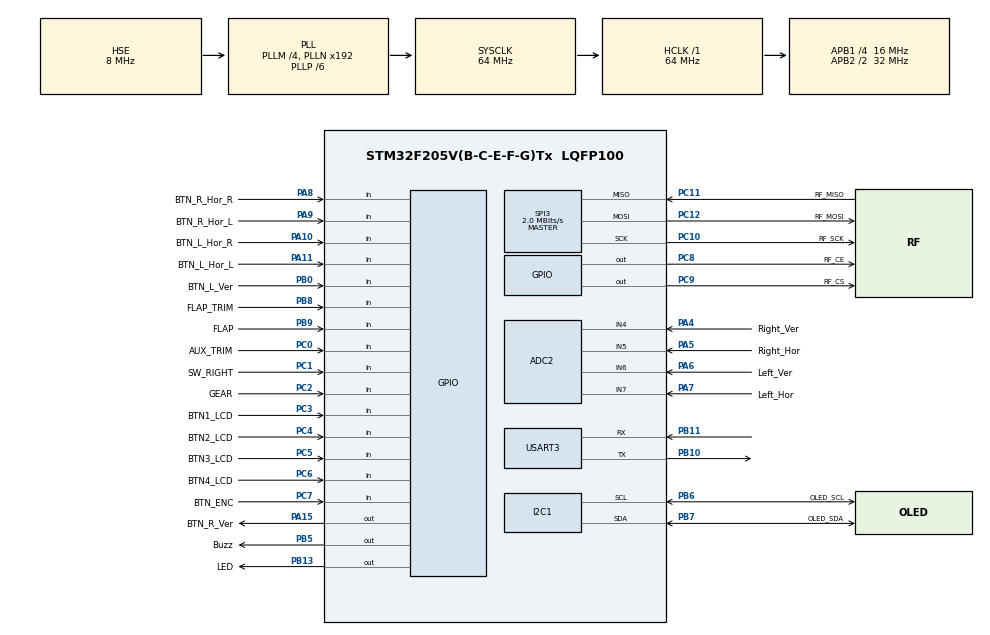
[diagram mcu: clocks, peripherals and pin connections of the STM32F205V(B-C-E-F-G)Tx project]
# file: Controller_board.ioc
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ADC2.Channel-0\#ChannelRegularConversion=ADC_CHANNEL_4
ADC2.Channel-1\#ChannelRegularConversion=ADC_CHANNEL_5
ADC2.Channel-2\#ChannelRegularConversion=ADC_CHANNEL_6
ADC2.Channel-3\#ChannelRegularConversion=ADC_CHANNEL_7
ADC2.ClockPrescaler=ADC_CLOCK_SYNC_PCLK_DIV2
ADC2.ContinuousConvMode=ENABLE
ADC2.DMAContinuousRequests=ENABLE
ADC2.DiscontinuousConvMode=DISABLE
ADC2.NbrOfConversion=4
ADC2.NbrOfConversionFlag=1
ADC2.Rank-0\#ChannelRegularConversion=1
ADC2.Rank-1\#ChannelRegularConversion=2
ADC2.Rank-2\#ChannelRegularConversion=3
ADC2.Rank-3\#ChannelRegularConversion=4
ADC2.SamplingTime-0\#ChannelRegularConversion=ADC_SAMPLETIME_480CYCLES
ADC2.SamplingTime-1\#ChannelRegularConversion=ADC_SAMPLETIME_480CYCLES
ADC2.SamplingTime-2\#ChannelRegularConversion=ADC_SAMPLETIME_480CYCLES
ADC2.SamplingTime-3\#ChannelRegularConversion=ADC_SAMPLETIME_480CYCLES
ADC2.ScanConvMode=ENABLE
Dma.ADC2.2.Direction=DMA_PERIPH_TO_MEMORY
Dma.ADC2.2.FIFOMode=DMA_FIFOMODE_DISABLE
Dma.ADC2.2.Instance=DMA2_Stream3
Dma.ADC2.2.MemDataAlignment=DMA_MDATAALIGN_HALFWORD
Dma.ADC2.2.MemInc=DMA_MINC_ENABLE
Dma.ADC2.2.Mode=DMA_CIRCULAR
Dma.ADC2.2.PeriphDataAlignment=DMA_PDATAALIGN_HALFWORD
Dma.ADC2.2.PeriphInc=DMA_PINC_DISABLE
Dma.ADC2.2.Priority=DMA_PRIORITY_LOW
Dma.Request0=USART3_RX
Dma.Request1=USART3_TX
Dma.Request2=ADC2
Dma.USART3_RX.0.Direction=DMA_PERIPH_TO_MEMORY
Dma.USART3_RX.0.FIFOMode=DMA_FIFOMODE_DISABLE
Dma.USART3_RX.0.Instance=DMA1_Stream1
Dma.USART3_RX.0.MemDataAlignment=DMA_MDATAALIGN_BYTE
Dma.USART3_RX.0.MemInc=DMA_MINC_ENABLE
Dma.USART3_RX.0.Mode=DMA_NORMAL
Dma.USART3_RX.0.PeriphDataAlignment=DMA_PDATAALIGN_BYTE
Dma.USART3_RX.0.PeriphInc=DMA_PINC_DISABLE
Dma.USART3_RX.0.Priority=DMA_PRIORITY_LOW
Dma.USART3_TX.1.Direction=DMA_MEMORY_TO_PERIPH
Dma.USART3_TX.1.FIFOMode=DMA_FIFOMODE_DISABLE
Dma.USART3_TX.1.Instance=DMA1_Stream3
Dma.USART3_TX.1.MemDataAlignment=DMA_MDATAALIGN_BYTE
Dma.USART3_TX.1.MemInc=DMA_MINC_ENABLE
Dma.USART3_TX.1.Mode=DMA_NORMAL
Dma.USART3_TX.1.PeriphDataAlignment=DMA_PDATAALIGN_BYTE
Dma.USART3_TX.1.PeriphInc=DMA_PINC_DISABLE
Dma.USART3_TX.1.Priority=DMA_PRIORITY_LOW
FREERTOS.INCLUDE_vTaskDelayUntil=1
FREERTOS.Tasks01=defaultTask,0,128,StartDefaultTask,Default,NULL,Dynamic,NULL,NULL
I2C1.I2C_Mode=I2C_Fast
Mcu.Family=STM32F2
Mcu.Name=STM32F205V(B-C-E-F-G)Tx
Mcu.Package=LQFP100
NVIC.DMA1_Stream1_IRQn=true\:5\:0\:false\:false\:true\:true\:false\:true
NVIC.DMA1_Stream3_IRQn=true\:5\:0\:false\:false\:true\:true\:false\:true
NVIC.DMA2_Stream3_IRQn=true\:5\:0\:false\:false\:true\:true\:false\:true
NVIC.PriorityGroup=NVIC_PRIORITYGROUP_4
NVIC.TIM5_IRQn=true\:15\:0\:false\:false\:true\:false\:false\:true
NVIC.TimeBase=TIM5_IRQn
NVIC.TimeBaseIP=TIM5
NVIC.USART3_IRQn=true\:5\:0\:false\:false\:true\:true\:true\:true
PA10.GPIO_Label=BTN_L_Hor_R
PA10.Signal=GPIO_Input
PA11.GPIO_Label=BTN_L_Hor_L
PA11.Signal=GPIO_Input
PA13.Mode=Serial_Wire
PA13.Signal=SYS_JTMS-SWDIO
PA14.Mode=Serial_Wire
PA14.Signal=SYS_JTCK-SWCLK
PA15.GPIO_Label=BTN_R_Ver
PA15.Signal=GPIO_Output
PA4.GPIO_Label=Right_Ver
PA4.Signal=SharedAnalog_PA4
PA5.GPIO_Label=Right_Hor
PA5.Signal=ADCx_IN5
PA6.GPIO_Label=Left_Ver
PA6.Signal=ADCx_IN6
PA7.GPIO_Label=Left_Hor
PA7.Signal=ADCx_IN7
PA8.GPIO_Label=BTN_R_Hor_R
PA8.Signal=GPIO_Input
PA9.GPIO_Label=BTN_R_Hor_L
PA9.Signal=GPIO_Input
PB0.GPIO_Label=BTN_L_Ver
PB0.Signal=GPIO_Input
PB10.Mode=Asynchronous
PB10.Signal=USART3_TX
PB11.Mode=Asynchronous
PB11.Signal=USART3_RX
PB13.GPIO_Label=LED
PB13.Signal=GPIO_Output
PB5.GPIO_Label=Buzz
PB5.Signal=GPIO_Output
PB6.GPIO_Label=OLED_SCL
PB6.Mode=I2C
PB6.Signal=I2C1_SCL
PB7.GPIO_Label=OLED_SDA
PB7.Mode=I2C
PB7.Signal=I2C1_SDA
PB8.GPIO_Label=FLAP_TRIM
PB8.Signal=GPIO_Input
PB9.GPIO_Label=FLAP
PB9.Signal=GPIO_Input
PC0.GPIO_Label=AUX_TRIM
PC0.Signal=GPIO_Input
PC1.GPIO_Label=SW_RIGHT
PC1.Signal=GPIO_Input
PC10.GPIO_Label=RF_SCK
PC10.Mode=Full_Duplex_Master
PC10.Signal=SPI3_SCK
PC11.GPIO_Label=RF_MISO
PC11.Mode=Full_Duplex_Master
PC11.Signal=SPI3_MISO
PC12.GPIO_Label=RF_MOSI
PC12.Mode=Full_Duplex_Master
PC12.Signal=SPI3_MOSI
PC2.GPIO_Label=GEAR
PC2.Signal=GPIO_Input
PC3.GPIO_Label=BTN1_LCD
PC3.Signal=GPIO_Input
PC4.GPIO_Label=BTN2_LCD
PC4.Signal=GPIO_Input
PC5.GPIO_Label=BTN3_LCD
PC5.Signal=GPIO_Input
PC6.GPIO_Label=BTN4_LCD
PC6.Signal=GPIO_Input
PC7.GPIO_Label=BTN_ENC
PC7.Signal=GPIO_Input
PC8.GPIO_Label=RF_CE
PC8.Signal=GPIO_Output
PC9.GPIO_Label=RF_CS
PC9.Signal=GPIO_Output
PH0-OSC_IN.Mode=HSE-External-Oscillator
PH0-OSC_IN.Signal=RCC_OSC_IN
PH1-OSC_OUT.Mode=HSE-External-Oscillator
PH1-OSC_OUT.Signal=RCC_OSC_OUT
ProjectManager.HeapSize=0x2000
ProjectManager.StackSize=0x4000
ProjectManager.TargetToolchain=Makefile
RCC.48MHZClocksFreq_Value=96000000
RCC.AHBFreq_Value=64000000
RCC.APB1CLKDivider=RCC_HCLK_DIV4
RCC.APB1Freq_Value=16000000
RCC.APB1TimFreq_Value=32000000
RCC.APB2CLKDivider=RCC_HCLK_DIV2
RCC.APB2Freq_Value=32000000
RCC.APB2TimFreq_Value=64000000
RCC.CortexFreq_Value=64000000
RCC.HCLKFreq_Value=64000000
RCC.HSE_VALUE=8000000
RCC.HSI_VALUE=16000000
RCC.LSE_VALUE=32768
RCC.PLLM=4
RCC.PLLP=RCC_PLLP_DIV6
RCC.PLLSourceVirtual=RCC_PLLSOURCE_HSE
RCC.SYSCLKFreq_VALUE=64000000
RCC.SYSCLKSource=RCC_SYSCLKSOURCE_PLLCLK
RCC.VCOOutputFreq_Value=384000000
SH.ADCx_IN5.0=ADC1_IN5
SH.ADCx_IN5.1=ADC2_IN5,IN5
SH.ADCx_IN6.0=ADC1_IN6
SH.ADCx_IN6.1=ADC2_IN6,IN6
SH.ADCx_IN7.0=ADC1_IN7
SH.ADCx_IN7.1=ADC2_IN7,IN7
SH.SharedAnalog_PA4.0=GPIO_Analog
SH.SharedAnalog_PA4.1=ADC1_IN4
SH.SharedAnalog_PA4.2=ADC2_IN4,IN4
SPI3.BaudRatePrescaler=SPI_BAUDRATEPRESCALER_8
SPI3.CalculateBaudRate=2.0 MBits/s
SPI3.Direction=SPI_DIRECTION_2LINES
SPI3.Mode=SPI_MODE_MASTER
SPI3.VirtualType=VM_MASTER
USART3.VirtualMode=VM_ASYNC
VP_FREERTOS_VS_CMSIS_V1.Mode=CMSIS_V1
VP_SYS_VS_tim5.Mode=TIM5
board=custom

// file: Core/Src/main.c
/* USER CODE BEGIN Header */
/**
 ******************************************************************************
 * @file           : main.c
 * @brief          : Main program body
 ******************************************************************************
 * @attention
 *
 * Copyright (c) 2022 STMicroelectronics.
 * All rights reserved.
 *
 * This software is licensed under terms that can be found in the LICENSE file
 * in the root directory of this software component.
 * If no LICENSE file comes with this software, it is provided AS-IS.
 *
 ******************************************************************************
 */
/* USER CODE END Header */
#include "main.h"

/* USER CODE BEGIN Includes */
#include <stdio.h>
#include <string.h>

#include "Oled.h"
#include "Radio.h"
#include "uartRingBufDMA.h"

// FreeRTOS
#include "FreeRTOS.h"
#include "event_groups.h"
#include "queue.h"
#include "semphr.h"
#include "stdio.h"
#include "task.h"
#include "timers.h"
/* USER CODE END Includes */

ADC_HandleTypeDef hadc2;
DMA_HandleTypeDef hdma_adc2;

I2C_HandleTypeDef hi2c1;

SPI_HandleTypeDef hspi3;

UART_HandleTypeDef huart3;
DMA_HandleTypeDef hdma_usart3_rx;
DMA_HandleTypeDef hdma_usart3_tx;

/* USER CODE BEGIN PV */

RingBuffer_t Ring;
RadioHandler_t Radio;
OLEDHandle_t Oled;

uint16_t ADCValue[4];

// Task Handle
TaskHandle_t RadioTask;
TaskHandle_t DisplayTask;
TaskHandle_t CalculateTask;
TaskHandle_t InitTask;
/* USER CODE END PV */

void SystemClock_Config(void);
static void MX_GPIO_Init(void);
static void MX_I2C1_Init(void);
static void MX_SPI3_Init(void);
static void MX_DMA_Init(void);
static void MX_USART3_UART_Init(void);
static void MX_ADC2_Init(void);

/* USER CODE BEGIN PFP */
void Init_Task(void *pvParameters);
void Display_Task(void *pvParameters);
void Radio_Task(void *pvParameters);
void ReadData_Task(void *pvParameters);

// RTOS
void Radio_Task(void *pvParameters);
void Display_Task(void *pvParameters);
void Calculate_Task(void *pvParameters);
void Init_Task(void *pvParamters);

/* USER CODE END PFP */

int main(void) {

    /* MCU
     * Configuration--------------------------------------------------------*/

    /* Reset of all peripherals, Initializes the Flash interface and the
     * Systick. */
    HAL_Init();

    /* Configure the system clock */
    SystemClock_Config();

    /* Initialize all configured peripherals */
    MX_GPIO_Init();
    MX_I2C1_Init();
    MX_SPI3_Init();
    MX_DMA_Init();
    MX_USART3_UART_Init();
    MX_ADC2_Init();
    /* USER CODE BEGIN 2 */
    HAL_GPIO_WritePin(Buzz_GPIO_Port, Buzz_Pin, 1);
    HAL_Delay(200);
    HAL_GPIO_WritePin(Buzz_GPIO_Port, Buzz_Pin, 0);
    // For RTOS
    xTaskCreate(Init_Task, "Init", 256, NULL, 3, &InitTask);
    vTaskStartScheduler();
    /* USER CODE END 2 */

    /* Infinite loop */
    while (1) {

    }
}

void SystemClock_Config(void) {
    RCC_OscInitTypeDef RCC_OscInitStruct = {0};
    RCC_ClkInitTypeDef RCC_ClkInitStruct = {0};

    /** Initializes the RCC Oscillators according to the specified parameters
     * in the RCC_OscInitTypeDef structure.
     */
    RCC_OscInitStruct.OscillatorType = RCC_OSCILLATORTYPE_HSE;
    RCC_OscInitStruct.HSEState = RCC_HSE_ON;
    RCC_OscInitStruct.PLL.PLLState = RCC_PLL_ON;
    RCC_OscInitStruct.PLL.PLLSource = RCC_PLLSOURCE_HSE;
    RCC_OscInitStruct.PLL.PLLM = 4;
    RCC_OscInitStruct.PLL.PLLN = 192;
    RCC_OscInitStruct.PLL.PLLP = RCC_PLLP_DIV6;
    RCC_OscInitStruct.PLL.PLLQ = 4;
    if (HAL_RCC_OscConfig(&RCC_OscInitStruct) != HAL_OK) {
        Error_Handler();
    }
    /** Initializes the CPU, AHB and APB buses clocks
     */
    RCC_ClkInitStruct.ClockType = RCC_CLOCKTYPE_HCLK | RCC_CLOCKTYPE_SYSCLK |
                                  RCC_CLOCKTYPE_PCLK1 | RCC_CLOCKTYPE_PCLK2;
    RCC_ClkInitStruct.SYSCLKSource = RCC_SYSCLKSOURCE_PLLCLK;
    RCC_ClkInitStruct.AHBCLKDivider = RCC_SYSCLK_DIV1;
    RCC_ClkInitStruct.APB1CLKDivider = RCC_HCLK_DIV4;
    RCC_ClkInitStruct.APB2CLKDivider = RCC_HCLK_DIV2;

    if (HAL_RCC_ClockConfig(&RCC_ClkInitStruct, FLASH_LATENCY_2) != HAL_OK) {
        Error_Handler();
    }
}

static void MX_ADC2_Init(void) {

    ADC_ChannelConfTypeDef sConfig = {0};

    /** Configure the global features of the ADC (Clock, Resolution, Data
     * Alignment and number of conversion)
     */
    hadc2.Instance = ADC2;
    hadc2.Init.ClockPrescaler = ADC_CLOCK_SYNC_PCLK_DIV2;
    hadc2.Init.Resolution = ADC_RESOLUTION_12B;
    hadc2.Init.ScanConvMode = ENABLE;
    hadc2.Init.ContinuousConvMode = ENABLE;
    hadc2.Init.DiscontinuousConvMode = DISABLE;
    hadc2.Init.ExternalTrigConvEdge = ADC_EXTERNALTRIGCONVEDGE_NONE;
    hadc2.Init.ExternalTrigConv = ADC_SOFTWARE_START;
    hadc2.Init.DataAlign = ADC_DATAALIGN_RIGHT;
    hadc2.Init.NbrOfConversion = 4;
    hadc2.Init.DMAContinuousRequests = ENABLE;
    hadc2.Init.EOCSelection = ADC_EOC_SINGLE_CONV;
    if (HAL_ADC_Init(&hadc2) != HAL_OK) {
        Error_Handler();
    }
    /** Configure for the selected ADC regular channel its corresponding rank in
     * the sequencer and its sample time.
     */
    sConfig.Channel = ADC_CHANNEL_4;
    sConfig.Rank = 1;
    sConfig.SamplingTime = ADC_SAMPLETIME_480CYCLES;
    if (HAL_ADC_ConfigChannel(&hadc2, &sConfig) != HAL_OK) {
        Error_Handler();
    }
    /** Configure for the selected ADC regular channel its corresponding rank in
     * the sequencer and its sample time.
     */
    sConfig.Channel = ADC_CHANNEL_5;
    sConfig.Rank = 2;
    if (HAL_ADC_ConfigChannel(&hadc2, &sConfig) != HAL_OK) {
        Error_Handler();
    }
    /** Configure for the selected ADC regular channel its corresponding rank in
     * the sequencer and its sample time.
     */
    sConfig.Channel = ADC_CHANNEL_6;
    sConfig.Rank = 3;
    if (HAL_ADC_ConfigChannel(&hadc2, &sConfig) != HAL_OK) {
        Error_Handler();
    }
    /** Configure for the selected ADC regular channel its corresponding rank in
     * the sequencer and its sample time.
     */
    sConfig.Channel = ADC_CHANNEL_7;
    sConfig.Rank = 4;
    if (HAL_ADC_ConfigChannel(&hadc2, &sConfig) != HAL_OK) {
        Error_Handler();
    }
}

static void MX_I2C1_Init(void) {

    hi2c1.Instance = I2C1;
    hi2c1.Init.ClockSpeed = 400000;
    hi2c1.Init.DutyCycle = I2C_DUTYCYCLE_2;
    hi2c1.Init.OwnAddress1 = 0;
    hi2c1.Init.AddressingMode = I2C_ADDRESSINGMODE_7BIT;
    hi2c1.Init.DualAddressMode = I2C_DUALADDRESS_DISABLE;
    hi2c1.Init.OwnAddress2 = 0;
    hi2c1.Init.GeneralCallMode = I2C_GENERALCALL_DISABLE;
    hi2c1.Init.NoStretchMode = I2C_NOSTRETCH_DISABLE;
    if (HAL_I2C_Init(&hi2c1) != HAL_OK) {
        Error_Handler();
    }
}

static void MX_SPI3_Init(void) {

    /* SPI3 parameter configuration*/
    hspi3.Instance = SPI3;
    hspi3.Init.Mode = SPI_MODE_MASTER;
    hspi3.Init.Direction = SPI_DIRECTION_2LINES;
    hspi3.Init.DataSize = SPI_DATASIZE_8BIT;
    hspi3.Init.CLKPolarity = SPI_POLARITY_LOW;
    hspi3.Init.CLKPhase = SPI_PHASE_1EDGE;
    hspi3.Init.NSS = SPI_NSS_SOFT;
    hspi3.Init.BaudRatePrescaler = SPI_BAUDRATEPRESCALER_8;
    hspi3.Init.FirstBit = SPI_FIRSTBIT_MSB;
    hspi3.Init.TIMode = SPI_TIMODE_DISABLE;
    hspi3.Init.CRCCalculation = SPI_CRCCALCULATION_DISABLE;
    hspi3.Init.CRCPolynomial = 10;
    if (HAL_SPI_Init(&hspi3) != HAL_OK) {
        Error_Handler();
    }
}

static void MX_USART3_UART_Init(void) {

    huart3.Instance = USART3;
    huart3.Init.BaudRate = 115200;
    huart3.Init.WordLength = UART_WORDLENGTH_8B;
    huart3.Init.StopBits = UART_STOPBITS_1;
    huart3.Init.Parity = UART_PARITY_NONE;
    huart3.Init.Mode = UART_MODE_TX_RX;
    huart3.Init.HwFlowCtl = UART_HWCONTROL_NONE;
    huart3.Init.OverSampling = UART_OVERSAMPLING_16;
    if (HAL_UART_Init(&huart3) != HAL_OK) {
        Error_Handler();
    }
}

static void MX_DMA_Init(void) {
    /* DMA controller clock enable */
    __HAL_RCC_DMA1_CLK_ENABLE();
    __HAL_RCC_DMA2_CLK_ENABLE();

    /* DMA interrupt init */
    /* DMA1_Stream1_IRQn interrupt configuration */
    HAL_NVIC_SetPriority(DMA1_Stream1_IRQn, 5, 0);
    HAL_NVIC_EnableIRQ(DMA1_Stream1_IRQn);
    /* DMA1_Stream3_IRQn interrupt configuration */
    HAL_NVIC_SetPriority(DMA1_Stream3_IRQn, 5, 0);
    HAL_NVIC_EnableIRQ(DMA1_Stream3_IRQn);
    /* DMA2_Stream3_IRQn interrupt configuration */
    HAL_NVIC_SetPriority(DMA2_Stream3_IRQn, 5, 0);
    HAL_NVIC_EnableIRQ(DMA2_Stream3_IRQn);
}

static void MX_GPIO_Init(void) {
    GPIO_InitTypeDef GPIO_InitStruct = {0};

    /* GPIO Ports Clock Enable */
    __HAL_RCC_GPIOH_CLK_ENABLE();
    __HAL_RCC_GPIOC_CLK_ENABLE();
    __HAL_RCC_GPIOA_CLK_ENABLE();
    __HAL_RCC_GPIOB_CLK_ENABLE();

    /*Configure GPIO pin Output Level */
    HAL_GPIO_WritePin(GPIOB, LED_Pin | Buzz_Pin, GPIO_PIN_RESET);

    /*Configure GPIO pin Output Level */
    HAL_GPIO_WritePin(GPIOC, RF_CE_Pin | RF_CS_Pin, GPIO_PIN_RESET);

    /*Configure GPIO pin Output Level */
    HAL_GPIO_WritePin(BTN_R_Ver_GPIO_Port, BTN_R_Ver_Pin, GPIO_PIN_RESET);

    /*Configure GPIO pins : AUX_TRIM_Pin SW_RIGHT_Pin GEAR_Pin BTN1_LCD_Pin
                             BTN2_LCD_Pin BTN3_LCD_Pin BTN4_LCD_Pin BTN_ENC_Pin
     */
    GPIO_InitStruct.Pin = AUX_TRIM_Pin | SW_RIGHT_Pin | GEAR_Pin |
                          BTN1_LCD_Pin | BTN2_LCD_Pin | BTN3_LCD_Pin |
                          BTN4_LCD_Pin | BTN_ENC_Pin;
    GPIO_InitStruct.Mode = GPIO_MODE_INPUT;
    GPIO_InitStruct.Pull = GPIO_NOPULL;
    HAL_GPIO_Init(GPIOC, &GPIO_InitStruct);

    /*Configure GPIO pins : Right_Ver_Pin Right_Hor_Pin Left_Ver_Pin
     * Left_Hor_Pin */
    GPIO_InitStruct.Pin =
        Right_Ver_Pin | Right_Hor_Pin | Left_Ver_Pin | Left_Hor_Pin;
    GPIO_InitStruct.Mode = GPIO_MODE_ANALOG;
    GPIO_InitStruct.Pull = GPIO_NOPULL;
    HAL_GPIO_Init(GPIOA, &GPIO_InitStruct);

    /*Configure GPIO pins : BTN_L_Ver_Pin FLAP_TRIM_Pin FLAP_Pin */
    GPIO_InitStruct.Pin = BTN_L_Ver_Pin | FLAP_TRIM_Pin | FLAP_Pin;
    GPIO_InitStruct.Mode = GPIO_MODE_INPUT;
    GPIO_InitStruct.Pull = GPIO_NOPULL;
    HAL_GPIO_Init(GPIOB, &GPIO_InitStruct);

    /*Configure GPIO pins : LED_Pin Buzz_Pin */
    GPIO_InitStruct.Pin = LED_Pin | Buzz_Pin;
    GPIO_InitStruct.Mode = GPIO_MODE_OUTPUT_PP;
    GPIO_InitStruct.Pull = GPIO_NOPULL;
    GPIO_InitStruct.Speed = GPIO_SPEED_FREQ_LOW;
    HAL_GPIO_Init(GPIOB, &GPIO_InitStruct);

    /*Configure GPIO pins : RF_CE_Pin RF_CS_Pin */
    GPIO_InitStruct.Pin = RF_CE_Pin | RF_CS_Pin;
    GPIO_InitStruct.Mode = GPIO_MODE_OUTPUT_PP;
    GPIO_InitStruct.Pull = GPIO_NOPULL;
    GPIO_InitStruct.Speed = GPIO_SPEED_FREQ_LOW;
    HAL_GPIO_Init(GPIOC, &GPIO_InitStruct);

    /*Configure GPIO pins : BTN_R_Hor_R_Pin BTN_R_Hor_L_Pin BTN_L_Hor_R_Pin
     * BTN_L_Hor_L_Pin */
    GPIO_InitStruct.Pin =
        BTN_R_Hor_R_Pin | BTN_R_Hor_L_Pin | BTN_L_Hor_R_Pin | BTN_L_Hor_L_Pin;
    GPIO_InitStruct.Mode = GPIO_MODE_INPUT;
    GPIO_InitStruct.Pull = GPIO_NOPULL;
    HAL_GPIO_Init(GPIOA, &GPIO_InitStruct);

    /*Configure GPIO pin : BTN_R_Ver_Pin */
    GPIO_InitStruct.Pin = BTN_R_Ver_Pin;
    GPIO_InitStruct.Mode = GPIO_MODE_OUTPUT_PP;
    GPIO_InitStruct.Pull = GPIO_NOPULL;
    GPIO_InitStruct.Speed = GPIO_SPEED_FREQ_LOW;
    HAL_GPIO_Init(BTN_R_Ver_GPIO_Port, &GPIO_InitStruct);
}

/* USER CODE BEGIN 4 */
int _write(int file, char *outgoing, int len) {
    HAL_UART_Transmit(&huart3, (uint8_t *)outgoing, len, 100);
    return len;
}

void Init_Task(void *pvParameters) {
    // Init for ADC with DMA
    HAL_ADC_Start_DMA(&hadc2, (uint32_t *)ADCValue, 4);
    // Init for the Ring Buffer. Must be call before other application
    Ring.Ring1.enable = true;
    Ring.Ring1.hdma = &hdma_usart3_rx;
    Ring.Ring1.huart = &huart3;
    Ring.GetTime = xTaskGetTickCount;
    Ring_Init(&Ring);
    // Init for the Radio SubSystem
    Radio.Init.Debug = &Ring.Ring1;
    Radio.Init.enableDebug = false;
    Radio.Init.nrfInit.CE_Pin = RF_CE_Pin;
    Radio.Init.nrfInit.CSN_Pin = RF_CS_Pin;
    Radio.Init.nrfInit.Port = RF_CS_GPIO_Port;
    Radio.Init.nrfInit.getTick = xTaskGetTickCount;
    Radio.Init.nrfInit.Timeout = 0;
    Radio.Init.nrfInit.wait = vTaskDelay;
    Radio.Init.nrfInit.hspi = &hspi3;
    Radio.Init.nrfInit.LostPackages = &Radio.LostPackages;
    Radio.Init.Serial = &Ring.Ring1;
    Radio.Init.Display = &Oled.Display;
    Radio.Init.ADCValue = ADCValue;
    Radio_Init(&Radio, Radio.Init);

    // Put Adc offset or Calibration
    Radio.AdcOffset.Adc1 = 2059;
    Radio.AdcOffset.Adc2 = 2181;
    Radio.AdcOffset.Adc3 = 289;
    Radio.AdcOffset.Adc4 = 1961;
    // Varires_Calib(&Radio.AdcOffset, ADCValue, 100);
    // Init for OLED Display
    Oled.Init.ControlPin.Pin = BTN1_LCD_Pin;
    Oled.Init.ControlPin.Port = BTN1_LCD_GPIO_Port;
    Oled.Init.ControlPin.AutoChange = false;
    Oled.Init.SelectPage = 0;
    Oled.Init.GetTime = xTaskGetTickCount;
    Oled.Init.Wait = vTaskDelay;
    Oled.Init.Heading = &Radio.Heading;
    Oled.Init.LostPackages = &Radio.LostPackages;
    Oled_Init(&Oled);
    xTaskCreate(Display_Task, "Display", 512, NULL, 2, &DisplayTask);
    xTaskCreate(Radio_Task, "Radio", 1024, NULL, 2, &RadioTask);
    xTaskCreate(Calculate_Task, "Calculate", 256, NULL, 2, &CalculateTask);
    vTaskDelete(InitTask);
    for (;;) {
    }
}

void Display_Task(void *pvParameters) {
    TickType_t StartTask = xTaskGetTickCount();
    vTaskDelay(1000);
    for (;;) {
        Oled_Process();
        // printf("Lost:%d\r\n", Radio.LostPackages);
        vTaskDelayUntil(&StartTask, 200);
    }
}

void Radio_Task(void *pvParameters) {
    char Buffer[64];
    TickType_t StartTask = xTaskGetTickCount();
    char Data[50];
    uint8_t count = 0;
    for (;;) {
        // Read the button status
        if (HAL_GPIO_ReadPin(SW_RIGHT_GPIO_Port, SW_RIGHT_Pin) ==
            GPIO_PIN_SET) {
            Radio.Heading = 'T';
        } else {
            Radio.Heading = 'F';
        }
        memset(Buffer, '\0', 64);
        if (Get_String_NonBlocking(&Ring.Ring1, (uint8_t *)Buffer, '\n') > 0) {
            strcpy(Data, Buffer);
            Data[strlen((char *)Data)] = '\n';
        } else {
            sprintf(Data, "CMD,T,%d,R,%d,P,%d,Y,%d,H,%c\n", Radio.PWMValue.Adc3,
                    Radio.PWMValue.Adc2, Radio.PWMValue.Adc1,
                    Radio.PWMValue.Adc4, Radio.Heading);
        }
        if (count == 0) {
            if (Radio_Remain() > strlen(Data)) Radio_Put_String(Data);
        }
        if (count != 0) {
            count++;
        } else if (count > 5) {
            count = 0;
        }
        Radio_Process();
        vTaskDelayUntil(&StartTask, 10);
    }
}

void Calculate_Task(void *pvParameters) {
    TickType_t StartTask = xTaskGetTickCount();
    for (;;) {
        Calculate_PWM(&Radio.PWMValue, Radio.ADCValue, &Radio.AdcOffset);
        vTaskDelayUntil(&StartTask, 2);
    }
}

/* USER CODE END 4 */

void HAL_TIM_PeriodElapsedCallback(TIM_HandleTypeDef *htim) {
    if (htim->Instance == TIM5) {
        HAL_IncTick();
    }
}

void Error_Handler(void) {
    /* USER CODE BEGIN Error_Handler_Debug */
    /* User can add his own implementation to report the HAL error return state
     */
    __disable_irq();
    while (1) {
    }
    /* USER CODE END Error_Handler_Debug */
}

#ifdef USE_FULL_ASSERT
/**
 * @brief  Reports the name of the source file and the source line number
 *         where the assert_param error has occurred.
 * @param  file: pointer to the source file name
 * @param  line: assert_param error line source number
 * @retval None
 */
void assert_failed(uint8_t *file, uint32_t line) {
    /* USER CODE BEGIN 6 */
    /* User can add his own implementation to report the file name and line
       number, ex: printf("Wrong parameters value: file %s on line %d\r\n",
       file, line) */
    /* USER CODE END 6 */
}
#endif /* USE_FULL_ASSERT */
